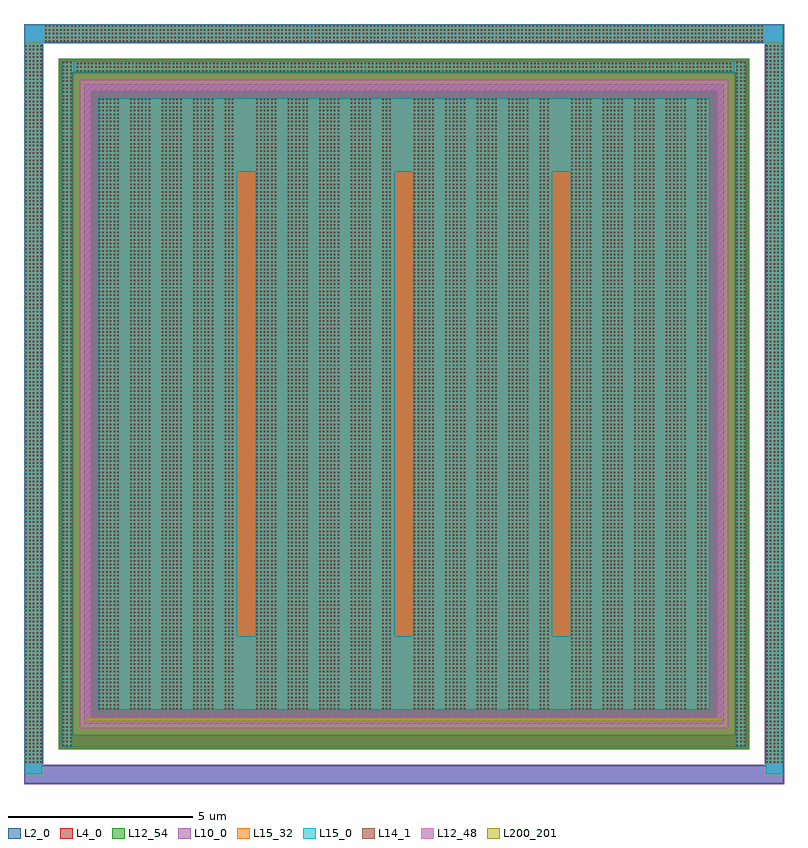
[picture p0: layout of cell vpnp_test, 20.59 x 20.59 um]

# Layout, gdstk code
import gdstk
lib = gdstk.Library(unit=1e-6, precision=1e-09)
def R(c, l, rs):  # rectangles x0, y0, x1, y1
    for r in rs: c.add(gdstk.rectangle(r[:2], r[2:], *l))
def A(c, l, x, y, w, h, nx, ny, dx, dy):  # array of equal rectangles
    R(c, l, [(x+i*dx, y+j*dy, x+i*dx+w, y+j*dy+h) for i in range(nx) for j in range(ny)])
L2_0 = (2, 0)
L4_0 = (4, 0)
L10_0 = (10, 0)
L12_48 = (12, 48)
L12_54 = (12, 54)
L14_1 = (14, 1)
L15_0 = (15, 0)
L15_32 = (15, 32)
L200_201 = (200, 201)

vpnp_test = lib.new_cell('vpnp_test')
R(vpnp_test, L2_0, [(-16.779,-8.809,3.773,-8.329), (-16.779,-8.329,-16.299,11.263), (3.293,-8.329,3.773,11.263), (-15.799,-7.829,2.793,-7.489), (-15.799,-7.489,-15.459,10.423), (2.453,-7.489,2.793,10.423), (-15.103,-7.133,2.097,10.067), (-15.799,10.423,2.793,10.763), (-16.779,11.263,3.773,11.743)])
R(vpnp_test, L4_0, [(-15.855,-7.885,2.849,10.819)])
R(vpnp_test, L10_0, [(-16.8,-8.83,3.794,-8.308), (-16.8,-8.308,-16.278,11.242), (3.272,-8.308,3.794,11.242), (-15.173,-7.203,2.167,10.137), (-16.8,11.242,3.794,11.764)])
R(vpnp_test, L12_48, [(-15.284,-7.314,2.278,-7.008), (-15.284,-7.008,-14.978,9.942), (1.972,-7.008,2.278,9.942), (-15.284,9.942,2.278,10.248)])
R(vpnp_test, L12_54, [(-15.855,-7.885,2.849,10.819)])
A(vpnp_test, L14_1, -16.759, -8.253, 0.04, 0.04, 5, 195, 0.1, 0.1)
A(vpnp_test, L14_1, 3.313, -8.253, 0.04, 0.04, 5, 195, 0.1, 0.1)
A(vpnp_test, L14_1, -15.749, -7.803, 0.04, 0.04, 3, 186, 0.1, 0.1)
A(vpnp_test, L14_1, 2.503, -7.803, 0.04, 0.04, 3, 186, 0.1, 0.1)
A(vpnp_test, L14_1, -14.773, -6.803, 0.04, 0.04, 6, 166, 0.1, 0.1)
A(vpnp_test, L14_1, -13.921, -6.803, 0.04, 0.04, 6, 166, 0.1, 0.1)
A(vpnp_test, L14_1, -13.069, -6.803, 0.04, 0.04, 6, 166, 0.1, 0.1)
A(vpnp_test, L14_1, -12.217, -6.803, 0.04, 0.04, 6, 166, 0.1, 0.1)
A(vpnp_test, L14_1, -11.365, -6.803, 0.04, 0.04, 3, 166, 0.1, 0.1)
A(vpnp_test, L14_1, -10.504, -6.803, 0.04, 0.04, 6, 166, 0.1, 0.1)
A(vpnp_test, L14_1, -9.652, -6.803, 0.04, 0.04, 6, 166, 0.1, 0.1)
A(vpnp_test, L14_1, -8.8, -6.803, 0.04, 0.04, 6, 166, 0.1, 0.1)
A(vpnp_test, L14_1, -7.948, -6.803, 0.04, 0.04, 6, 166, 0.1, 0.1)
A(vpnp_test, L14_1, -7.096, -6.803, 0.04, 0.04, 3, 166, 0.1, 0.1)
A(vpnp_test, L14_1, -6.235, -6.803, 0.04, 0.04, 6, 166, 0.1, 0.1)
A(vpnp_test, L14_1, -5.383, -6.803, 0.04, 0.04, 6, 166, 0.1, 0.1)
A(vpnp_test, L14_1, -4.531, -6.803, 0.04, 0.04, 6, 166, 0.1, 0.1)
A(vpnp_test, L14_1, -3.679, -6.803, 0.04, 0.04, 6, 166, 0.1, 0.1)
A(vpnp_test, L14_1, -2.827, -6.803, 0.04, 0.04, 3, 166, 0.1, 0.1)
A(vpnp_test, L14_1, -1.966, -6.803, 0.04, 0.04, 6, 166, 0.1, 0.1)
A(vpnp_test, L14_1, -1.114, -6.803, 0.04, 0.04, 6, 166, 0.1, 0.1)
A(vpnp_test, L14_1, -0.262, -6.803, 0.04, 0.04, 6, 166, 0.1, 0.1)
A(vpnp_test, L14_1, 0.59, -6.803, 0.04, 0.04, 6, 166, 0.1, 0.1)
A(vpnp_test, L14_1, 1.442, -6.803, 0.04, 0.04, 3, 166, 0.1, 0.1)
A(vpnp_test, L14_1, -15.373, 10.473, 0.04, 0.04, 178, 3, 0.1, 0.1)
A(vpnp_test, L14_1, -16.223, 11.283, 0.04, 0.04, 195, 5, 0.1, 0.1)
A(vpnp_test, L15_0, -14.791, -4.821, 3.769, 12.576, 4, 1, 4.269, 0)
R(vpnp_test, L15_0, [(-16.777,-8.569,-16.301,11.741), (3.295,-8.569,3.771,11.741), (-15.767,-7.821,-15.491,10.755), (2.485,-7.821,2.761,10.755), (-14.791,-6.821,1.785,-4.821), (-14.791,7.755,1.785,9.755), (-15.491,10.455,2.485,10.755), (-16.301,11.265,3.295,11.741)])
R(vpnp_test, L15_32, [(-16.777,-8.271,-16.301,11.265), (3.295,-8.271,3.771,11.265), (-15.767,-7.821,-15.491,10.755), (2.485,-7.821,2.761,10.755), (-14.791,-6.821,1.785,9.755), (-15.391,10.455,2.385,10.731), (-16.241,11.265,3.235,11.741)])
R(vpnp_test, L200_201, [(-15.103,-7.133,2.097,-7.033)])

lib.write_gds('vpnp_test.gds')
